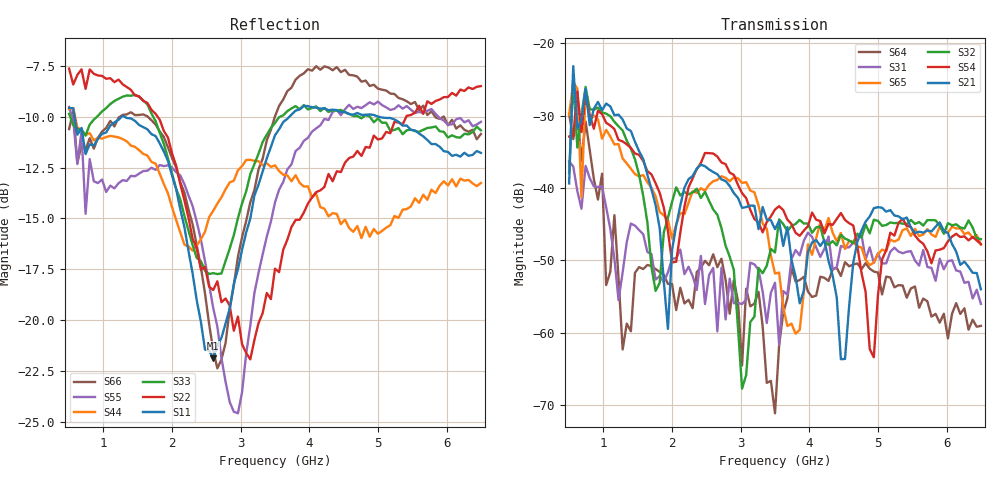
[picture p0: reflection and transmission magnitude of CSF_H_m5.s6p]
!Keysight Technologies,M9804A,MY58100912,A.14.10.03
!Date: Thursday, April 27, 2023 10:28:33
!Correction: S11(C  6-Port  )
!S12(C  6-Port  )
!S13(C  6-Port  )
!S14(C  6-Port  )
!S15(C  6-Port  )
!S16(C  6-Port  )
!S21(C  6-Port  )
!S22(C  6-Port  )
!S23(C  6-Port  )
!S24(C  6-Port  )
!S25(C  6-Port  )
!S26(C  6-Port  )
!S31(C  6-Port  )
!S32(C  6-Port  )
!S33(C  6-Port  )
!S34(C  6-Port  )
!S35(C  6-Port  )
!S36(C  6-Port  )
!S41(C  6-Port  )
!S42(C  6-Port  )
!S43(C  6-Port  )
!S44(C  6-Port  )
!S45(C  6-Port  )
!S46(C  6-Port  )
!S51(C  6-Port  )
!S52(C  6-Port  )
!S53(C  6-Port  )
!S54(C  6-Port  )
!S55(C  6-Port  )
!S56(C  6-Port  )
!S61(C  6-Port  )
!S62(C  6-Port  )
!S63(C  6-Port  )
!S64(C  6-Port  )
!S65(C  6-Port  )
!S66(C  6-Port  )
!S6P File: Measurement: :
# Hz S  RI  R 50
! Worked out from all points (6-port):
!   101 points, 500 MHz to 6.5 GHz, reference 50 ohm
!   strongest paths, dB at 500 MHz, 2 GHz, 3.5 GHz, 5 GHz, 6.5 GHz:
!     S21: -39.4, -48.6, -45.7, -42.6, -54.0
!     S54: -32.9, -50.3, -43.0, -54.8, -47.7
!     S32: -37.9, -41.9, -48.9, -44.5, -47.1
!     S65: -29.9, -47.0, -51.8, -49.2, -47.8
!     S31: -36.3, -49.7, -53.1, -49.0, -56.0
!     S64: -29.7, -53.3, -71.1, -51.7, -59.0
!   lowest |S11| = -21.9 dB at 2.6 GHz (marker M1), VSWR 1.18, Z = 42.8 + j1.97 ohm
!   |S11| at or under -10 dB: 579.1 MHz to 1.266 GHz (687 MHz wide, 74.5 % of centre); 1.305 GHz to 3.711 GHz (2.406 GHz wide, 95.9 % of centre); 5.009 GHz to end of sweep
